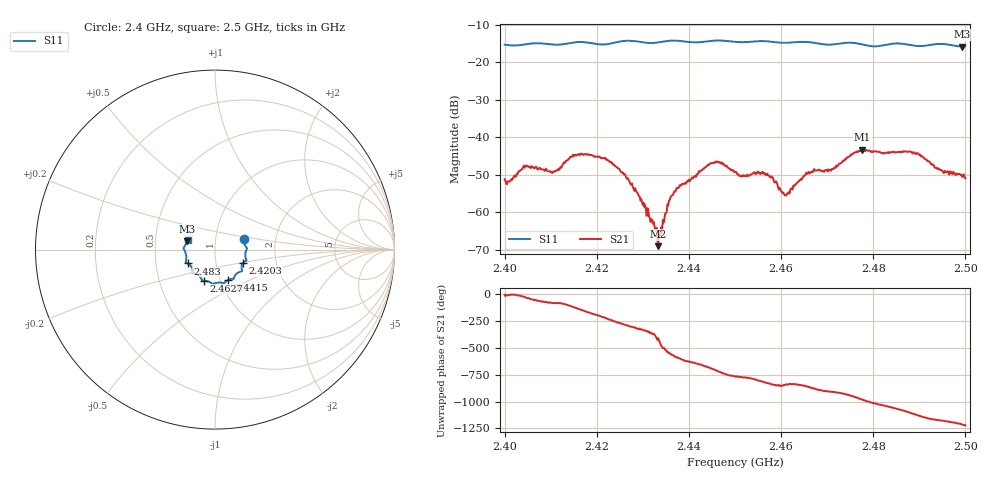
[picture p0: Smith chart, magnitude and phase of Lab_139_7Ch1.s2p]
# Hz S RI R 50
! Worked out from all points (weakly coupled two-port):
!   601 points, 2.4 GHz to 2.5 GHz, reference 50 ohm
!   highest |S21| = -43.34 dB at 2.4777 GHz (marker M1); lowest = -69.1 dB at 2.4333 GHz (marker M2)
!   lowest |S11| = -15.8 dB at 2.4993 GHz (marker M3), VSWR 1.39, Z = 36.5 + j3.55 ohm
!   |S11| at or under -10 dB: start of sweep to end of sweep
!   S12 and S22 are empty: the file has one direction only
!   S11 on the Smith chart (normalised r, x): 2.4 GHz: 1.37, +0.17; 2.4203 GHz: 1.35, -0.20; 2.4415 GHz: 1.09, -0.38; 2.4627 GHz: 0.84, -0.30; 2.483 GHz: 0.73, -0.12; 2.5 GHz: 0.73, +0.08
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2.4e9  0.1604 0.0586  0.00274 -0.000276  0 0  0 0
2.4045e9  0.1719 0.0164  0.00365 -0.002  0 0  0 0
2.410833e9  0.1699 -0.0166  0.000431 -0.00348  0 0  0 0
2.416667e9  0.1752 -0.061  -0.00504 -0.00331  0 0  0 0
2.420333e9  0.157 -0.0731  -0.00519 0.00181  0 0  0 0
2.4265e9  0.1516 -0.1189  0.000991 0.00261  0 0  0 0
2.433333e9  0.1094 -0.1471  0.000228 -0.000269  0 0  0 0
2.436333e9  0.105 -0.1624  -0.00149 0.000763  0 0  0 0
2.4415e9  0.0745 -0.1676  0.000757 0.00285  0 0  0 0
2.446e9  0.0506 -0.1876  0.00473 0.000551  0 0  0 0
2.45e9  0.031 -0.1836  0.00235 -0.00248  0 0  0 0
2.4565e9  -0.0132 -0.1899  -0.000629 -0.00322  0 0  0 0
2.460667e9  -0.0424 -0.1758  -0.00104 -0.00139  0 0  0 0
2.462667e9  -0.0596 -0.1736  -0.00104 -0.00202  0 0  0 0
2.466667e9  -0.0737 -0.1674  -0.00306 -0.00167  0 0  0 0
2.471e9  -0.0995 -0.14  -0.00373 0.000536  0 0  0 0
2.477667e9  -0.1237 -0.1194  -0.000917 0.00675  0 0  0 0
2.483e9  -0.1529 -0.0774  0.00512 0.00358  0 0  0 0
2.483333e9  -0.1552 -0.0764  0.00532 0.00342  0 0  0 0
2.489333e9  -0.1598 -0.0391  0.0043 -0.00412  0 0  0 0
2.499333e9  -0.1543 0.0474  -0.0021 -0.00207  0 0  0 0
2.5e9  -0.1527 0.0562  -0.00221 -0.00176  0 0  0 0
